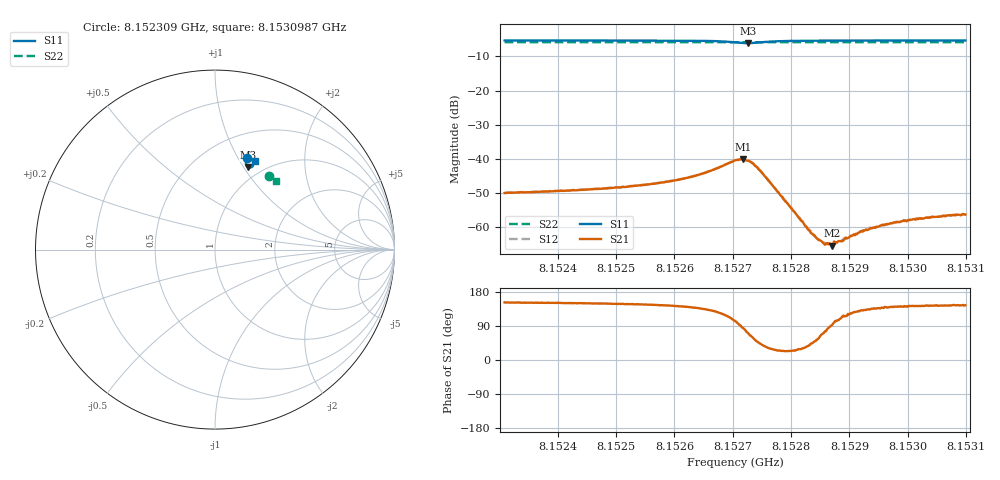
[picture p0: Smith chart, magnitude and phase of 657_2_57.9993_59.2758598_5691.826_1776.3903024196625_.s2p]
#  HZ  S  RI  R  50.00
! Rohde & Schwarz Vector Network Analyzer
! Rohde-Schwarz,ZNB20-2Port,1311601062101988,3.16
! Created: UTC 3/21/2024, 1:19:48 AM
! freq[Hz]  re:S11  im:S11  re:S21  im:S21  re:S12  im:S12  re:S22  im:S22
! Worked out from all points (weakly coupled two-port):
!   401 points, 8.152309 GHz to 8.1530987 GHz, reference 50 ohm
!   highest |S21| = -40.04 dB at 8.1527177 GHz (marker M1); lowest = -65.3 dB at 8.1528697 GHz (marker M2)
!   lowest |S11| = -6.1 dB at 8.1527256 GHz (marker M3), VSWR 2.96, Z = 43.2 + j52.4 ohm
!   |S11| at or under -10 dB: nowhere
!   |S22| runs from -5.9 to -5.8 dB; largest |S21 - S12| = 0.00035
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8.15230901e9  0.1781 0.5104  -0.00281 0.00149  -0.00283 0.00155  0.3022 0.4128
8.15244128e9  0.1887 0.5066  -0.00308 0.00177  -0.00306 0.00186  0.3089 0.4076
8.1525163e9  0.1949 0.5037  -0.00328 0.00211  -0.00331 0.00218  0.3127 0.4045
8.15257355e9  0.2009 0.5006  -0.00364 0.00259  -0.00366 0.00264  0.3157 0.4021
8.15261303e9  0.2058 0.4969  -0.00401 0.00317  -0.00399 0.00328  0.3177 0.4006
8.15264659e9  0.2107 0.4915  -0.00433 0.00424  -0.0043 0.00433  0.3194 0.3989
8.15270384e9  0.2086 0.4633  -0.00211 0.00934  -0.00206 0.0093  0.3215 0.3957
8.15271766e9  0.1947 0.4569  0.00102 0.0099  0.00111 0.0099  0.3216 0.3952
8.15272556e9  0.1847 0.4588  0.00293 0.00903  0.00308 0.00916  0.3215 0.3951
8.15273345e9  0.177 0.4646  0.00429 0.00756  0.00443 0.00763  0.3218 0.3951
8.1527453e9  0.1724 0.4765  0.0049 0.00493  0.00504 0.00495  0.3225 0.3951
8.15277886e9  0.1809 0.4955  0.00289 0.00136  0.00292 0.00132  0.3245 0.3943
8.15283611e9  0.1951 0.5002  0.000582 0.000568  0.000621 0.000554  0.3278 0.3919
8.15284203e9  0.1963 0.5003  0.000467 0.000558  0.000439 0.000568  0.328 0.3918
8.15285585e9  0.1983 0.5001  0.00019 0.000552  0.000199 0.000566  0.3287 0.3911
8.15286967e9  0.2003 0.5  -1.23e-05 0.000541  2.46e-06 0.000576  0.3293 0.3905
8.15287559e9  0.2011 0.4999  -0.000135 0.000579  -8.81e-05 0.000597  0.3296 0.3903
8.15288744e9  0.2026 0.4997  -0.000255 0.000576  -0.000289 0.000588  0.3303 0.3899
8.15292692e9  0.2069 0.4987  -0.000609 0.000681  -0.000621 0.000682  0.3322 0.3881
8.15296838e9  0.211 0.4976  -0.000857 0.000734  -0.00087 0.000757  0.3343 0.3863
8.15301773e9  0.2152 0.4962  -0.00105 0.000808  -0.00108 0.000841  0.3366 0.3842
8.15309867e9  0.2215 0.4939  -0.00125 0.000897  -0.00126 0.000927  0.3405 0.3807
